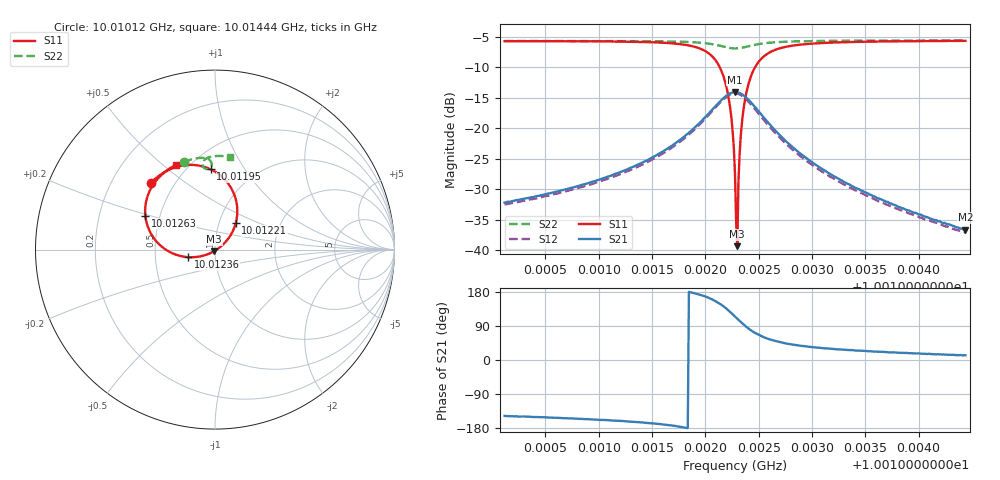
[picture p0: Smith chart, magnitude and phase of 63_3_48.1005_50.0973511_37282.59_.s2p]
#  HZ  S  RI  R  50.00
! Rohde & Schwarz Vector Network Analyzer
! Rohde-Schwarz,ZNB20-2Port,1311601062101988,3.16
! Created: UTC 12/23/2023, 3:41:00 AM
! freq[Hz]  re:S11  im:S11  re:S21  im:S21  re:S12  im:S12  re:S22  im:S22
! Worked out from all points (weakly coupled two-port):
!   401 points, 10.01012 GHz to 10.01444 GHz, reference 50 ohm
!   highest |S21| = -14.08 dB at 10.01228 GHz (marker M1); lowest = -36.6 dB at 10.01444 GHz (marker M2)
!   lowest |S11| = -39.4 dB at 10.0123 GHz (marker M3), VSWR 1.02, Z = 49.4 - j0.918 ohm
!   |S11| at or under -10 dB: 10.01213 GHz to 10.01247 GHz (331.3 kHz wide, 0.00331 % of centre)
!   |S22| runs from -6.9 to -5.6 dB; largest |S21 - S12| = 0.0092
!   S11 on the Smith chart (normalised r, x): 10.01012 GHz: 0.37, +0.38; 10.01195 GHz: 0.64, +0.72; 10.01221 GHz: 1.20, +0.37; 10.01236 GHz: 0.74, -0.06; 10.01263 GHz: 0.41, +0.19; 10.01444 GHz: 0.43, +0.55
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1.0010117e10  -0.3582 0.3723  -0.0206 -0.0132  -0.0194 -0.0138  -0.1742 0.4889
1.0010841e10  -0.3021 0.4183  -0.0312 -0.0142  -0.0292 -0.0152  -0.127 0.5035
1.0011565e10  -0.1923 0.4661  -0.0605 -0.0121  -0.0577 -0.0143  -0.0722 0.5113
1.0011954e10  -0.0243 0.4475  -0.1109 0.0162  -0.1083 0.00961  -0.0328 0.5009
1.0012116e10  0.0994 0.3244  -0.1396 0.0746  -0.1402 0.066  -0.0183 0.4786
1.001217e10  0.1236 0.2359  -0.1386 0.109  -0.1401 0.1013  -0.0193 0.4665
1.0012213e10  0.1158 0.1479  -0.1258 0.1409  -0.1289 0.1329  -0.0245 0.4572
1.0012235e10  0.0987 0.102  -0.1142 0.156  -0.1182 0.1479  -0.0286 0.4533
1.0012256e10  0.0721 0.0585  -0.0996 0.1693  -0.1042 0.1615  -0.0339 0.4503
1.0012278e10  0.0366 0.0206  -0.0825 0.1797  -0.0871 0.1723  -0.0397 0.4488
1.0012289e10  0.0164 0.00468  -0.0732 0.1834  -0.0773 0.1767  -0.0428 0.4485
1.0012299e10  -0.00547 -0.00928  -0.0639 0.1863  -0.0679 0.1796  -0.0459 0.4487
1.001231e10  -0.0297 -0.0214  -0.0538 0.1883  -0.0584 0.1819  -0.049 0.4491
1.0012332e10  -0.0785 -0.037  -0.0347 0.1892  -0.0395 0.1828  -0.0545 0.4513
1.0012343e10  -0.1021 -0.0411  -0.0253 0.1882  -0.0295 0.1821  -0.0571 0.4528
1.0012364e10  -0.1505 -0.0423  -0.00718 0.1841  -0.0118 0.178  -0.0617 0.4567
1.0012408e10  -0.2349 -0.0216  0.0229 0.1684  0.0173 0.163  -0.0671 0.4657
1.0012462e10  -0.31 0.0284  0.0462 0.1433  0.0396 0.1388  -0.0688 0.4774
1.0012634e10  -0.3881 0.189  0.0619 0.0787  0.0561 0.0773  -0.0561 0.502
1.0013002e10  -0.3566 0.3418  0.0436 0.0294  0.04 0.0298  -0.0214 0.5178
1.0013726e10  -0.2785 0.4331  0.0228 0.0084  0.0212 0.00918  0.034 0.5218
1.0014439e10  -0.2193 0.4718  0.0144 0.0032  0.0134 0.00372  0.0824 0.5176
